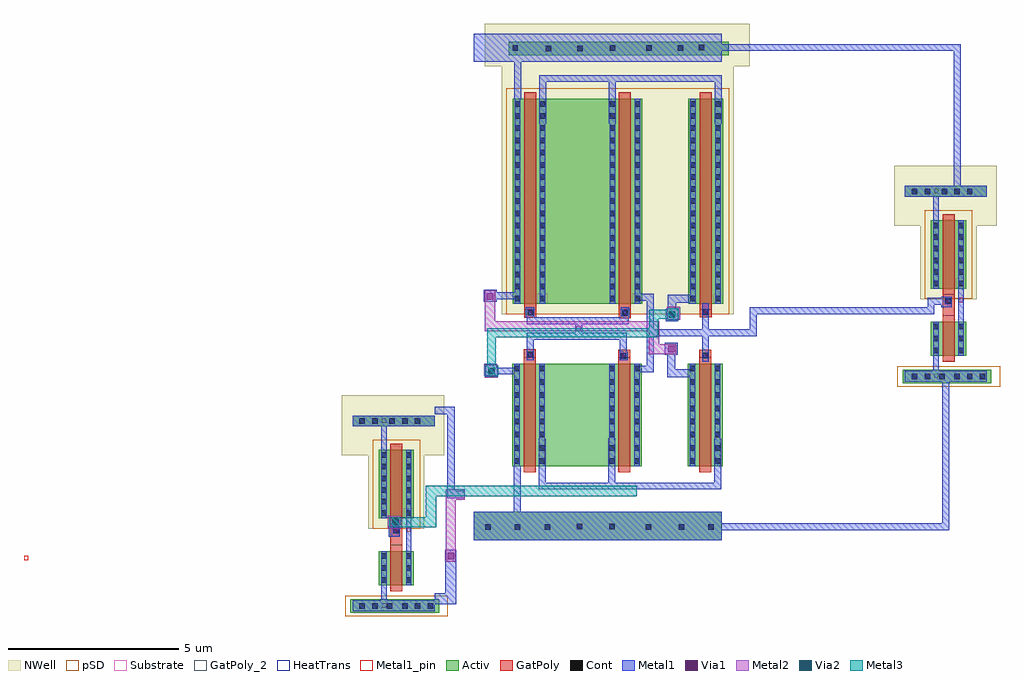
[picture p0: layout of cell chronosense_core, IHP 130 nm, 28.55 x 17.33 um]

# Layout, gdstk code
import gdstk
lib = gdstk.Library(unit=1e-6, precision=1e-09)
def R(c, l, rs):  # rectangles x0, y0, x1, y1
    for r in rs: c.add(gdstk.rectangle(r[:2], r[2:], *l))
def A(c, l, x, y, w, h, nx, ny, dx, dy):  # array of equal rectangles
    R(c, l, [(x+i*dx, y+j*dy, x+i*dx+w, y+j*dy+h) for i in range(nx) for j in range(ny)])
Activ = (1, 0)
GatPoly = (5, 0)
GatPoly_2 = (5, 2)
Cont = (6, 0)
Metal1 = (8, 0)
Metal1_pin = (8, 2)
Metal2 = (10, 0)
pSD = (14, 0)
Via1 = (19, 0)
Via2 = (29, 0)
Metal3 = (30, 0)
NWell = (31, 0)
Substrate = (40, 0)
HeatTrans = (51, 0)

pmos = lib.new_cell('pmos')
R(pmos, Activ, [(0,0,0.3,0.3), (0,0,1.03,2), (0.73,0,1.03,0.3)])
R(pmos, GatPoly, [(0.34,-0.18,0.69,2.18), (0.34,-0.18,0.69,2.18)])
A(pmos, Cont, 0.07, 0.07, 0.16, 0.16, 1, 6, 0, 0.34)
A(pmos, Cont, 0.8, 0.07, 0.16, 0.16, 1, 6, 0, 0.34)
R(pmos, Metal1, [(0.07,0,0.23,2), (0.07,0,0.23,2), (0.8,0,0.96,2), (0.8,0,0.96,2)])
R(pmos, pSD, [(-0.18,-0.3,1.21,2.3)])
R(pmos, NWell, [(-0.31,-0.31,1.34,2.31)])
R(pmos, Substrate, [(0.73,0,1.03,0.3)])
R(pmos, HeatTrans, [(0.34,-0.18,0.69,2.18)])
pmos.add(gdstk.Label('pmos', (0.515,1), layer=63, texttype=0))
pmos.add(gdstk.Label('pmos', (0.515,1), layer=51, texttype=0))

nmos = lib.new_cell('nmos')
R(nmos, Activ, [(0,0,0.3,0.3), (0,0,1.03,1), (0.73,0,1.03,0.3)])
R(nmos, GatPoly, [(0.34,-0.18,0.69,1.18)])
R(nmos, GatPoly_2, [(0.34,-0.18,0.69,1.18)])
A(nmos, Cont, 0.07, 0.07, 0.16, 0.16, 1, 3, 0, 0.35)
A(nmos, Cont, 0.8, 0.07, 0.16, 0.16, 1, 3, 0, 0.35)
R(nmos, Metal1, [(0.07,0,0.23,1), (0.8,0,0.96,1)])
R(nmos, Metal1_pin, [(0.07,0,0.23,1), (0.8,0,0.96,1)])
R(nmos, HeatTrans, [(0.34,-0.18,0.69,1.18)])
nmos.add(gdstk.Label('nmos', (0.515,0.5), layer=63, texttype=0))
nmos.add(gdstk.Label('nmos', (0.515,0.5), layer=51, texttype=0))

inv = lib.new_cell('inv')
R(inv, Activ, [(-1.25,1.89,1.35,2.29), (-1.185,7.345,1.215,7.66)])
R(inv, GatPoly, [(-0.08,3.8,0.27,4.435), (-0.08,4.165,0.27,4.8)])
A(inv, Cont, -0.105, 7.42, 0.16, 0.16, 3, 1, 0.37, 0)
R(inv, Cont, [(-0.985,2.01,-0.825,2.17), (-0.605,2.01,-0.445,2.17), (-0.18,2.01,-0.02,2.17), (0.265,2.01,0.425,2.17), (0.635,2.01,0.795,2.17), (1.01,2.01,1.17,2.17), (0,4.215,0.16,4.375), (-0.985,7.42,-0.825,7.58), (-0.605,7.42,-0.445,7.58)])
R(inv, Metal1, [(-1.185,1.935,1.215,2.25), (-0.35,2.11,-0.19,2.745), (0.38,3.683,0.54,4.663), (-0.12,4.11,0.19,4.425), (-0.35,6.655,-0.19,7.43), (-1.185,7.345,1.215,7.66)])
R(inv, Metal1_pin, [(-0.33,2.045,-0.2,2.175), (-10.795,3.425,-10.665,3.555), (0.395,4.255,0.525,4.385), (-0.33,7.455,-0.2,7.585)])
R(inv, pSD, [(-1.4,1.79,1.6,2.39)])
R(inv, NWell, [(-1.5,6.5,1.5,8.25)])
inv.add(gdstk.Reference(pmos, (-0.42,4.655)))
inv.add(gdstk.Reference(nmos, (-0.42,2.695)))
inv.add(gdstk.Label('IN', (-10.655,3.525), layer=8, texttype=25))
inv.add(gdstk.Label('VDD', (-0.265,7.51), layer=8, texttype=25))
inv.add(gdstk.Label('VSS', (-0.265,2.08), layer=8, texttype=25))
inv.add(gdstk.Label('OUT', (0.46,4.32), layer=8, texttype=25))

nmos_2 = lib.new_cell('nmos$2')
R(nmos_2, Activ, [(0,0,0.3,0.3), (0,0,1.03,3), (0.73,0,1.03,0.3)])
R(nmos_2, GatPoly, [(0.34,-0.18,0.69,3.18)])
R(nmos_2, GatPoly_2, [(0.34,-0.18,0.69,3.18)])
A(nmos_2, Cont, 0.07, 0.07, 0.16, 0.16, 1, 7, 0, 0.385)
A(nmos_2, Cont, 0.8, 0.07, 0.16, 0.16, 1, 7, 0, 0.385)
R(nmos_2, Cont, [(0.07,2.77,0.23,2.93), (0.8,2.77,0.96,2.93)])
R(nmos_2, Metal1, [(0.07,0,0.23,3), (0.8,0,0.96,3)])
R(nmos_2, Metal1_pin, [(0.07,0,0.23,3), (0.8,0,0.96,3)])
R(nmos_2, HeatTrans, [(0.34,-0.18,0.69,3.18)])
nmos_2.add(gdstk.Label('nmos', (0.515,1.5), layer=63, texttype=0))
nmos_2.add(gdstk.Label('nmos', (0.515,1.5), layer=51, texttype=0))

pmos_2 = lib.new_cell('pmos$2')
R(pmos_2, Activ, [(0,0,0.3,0.3), (0,0,1.03,6), (0.73,0,1.03,0.3)])
R(pmos_2, GatPoly, [(0.34,-0.18,0.69,6.18), (0.34,-0.18,0.69,6.18)])
A(pmos_2, Cont, 0.07, 0.07, 0.16, 0.16, 1, 4, 0, 0.355)
A(pmos_2, Cont, 0.8, 0.07, 0.16, 0.16, 1, 4, 0, 0.355)
A(pmos_2, Cont, 0.07, 1.495, 0.16, 0.16, 1, 4, 0, 0.355)
A(pmos_2, Cont, 0.8, 1.495, 0.16, 0.16, 1, 4, 0, 0.355)
A(pmos_2, Cont, 0.07, 2.92, 0.16, 0.16, 1, 4, 0, 0.355)
A(pmos_2, Cont, 0.8, 2.92, 0.16, 0.16, 1, 4, 0, 0.355)
A(pmos_2, Cont, 0.07, 4.345, 0.16, 0.16, 1, 4, 0, 0.355)
A(pmos_2, Cont, 0.8, 4.345, 0.16, 0.16, 1, 4, 0, 0.355)
R(pmos_2, Cont, [(0.07,5.77,0.23,5.93), (0.8,5.77,0.96,5.93)])
R(pmos_2, Metal1, [(0.07,0,0.23,6), (0.07,0,0.23,6), (0.8,0,0.96,6), (0.8,0,0.96,6)])
R(pmos_2, pSD, [(-0.18,-0.3,1.21,6.3)])
R(pmos_2, NWell, [(-0.31,-0.31,1.34,6.31)])
R(pmos_2, Substrate, [(0.73,0,1.03,0.3)])
R(pmos_2, HeatTrans, [(0.34,-0.18,0.69,6.18)])
pmos_2.add(gdstk.Label('pmos', (0.515,3), layer=63, texttype=0))
pmos_2.add(gdstk.Label('pmos', (0.515,3), layer=51, texttype=0))

schmitt = lib.new_cell('schmitt')
R(schmitt, Activ, [(-5.575,3.39,1.68,4.22), (-5.575,3.39,1.68,4.22), (-3.735,5.555,-1.35,8.555), (-3.925,10.305,-1.155,16.305), (-4.55,17.575,1.89,17.975)])
R(schmitt, GatPoly, [(1.02,8.32,1.37,8.955), (-1.345,8.33,-0.995,8.965), (-4.115,8.34,-3.765,8.975), (-1.33,9.885,-0.98,10.52), (-4.1,9.89,-3.75,10.525), (1.035,9.905,1.385,10.54)])
R(schmitt, Cont, [(-5.235,3.69,-5.075,3.85), (-4.38,3.69,-4.22,3.85), (-3.495,3.69,-3.335,3.85), (-0.54,3.69,-0.38,3.85), (0.42,3.69,0.58,3.85), (1.28,3.69,1.44,3.85), (-2.56,3.71,-2.4,3.87), (-1.605,3.71,-1.445,3.87), (-1.27,8.7,-1.11,8.86), (1.125,8.705,1.285,8.865), (-4,8.74,-3.84,8.9), (-1.225,9.96,-1.065,10.12), (-4,9.965,-3.84,10.125), (1.125,9.985,1.285,10.145), (-3.465,17.69,-3.305,17.85), (-2.55,17.69,-2.39,17.85), (-1.595,17.7,-1.435,17.86), (-4.44,17.705,-4.28,17.865), (-0.525,17.705,-0.365,17.865), (0.4,17.705,0.56,17.865), (1.005,17.72,1.165,17.88)])
R(schmitt, Metal1, [(-5.575,3.39,1.68,4.22), (-5.27,8.195,-4.895,8.55), (-1.3,8.65,-1.065,8.9), (0.02,8.81,0.395,9.165), (0.04,9.8,0.415,10.155), (-4.05,9.9,-3.8,10.2), (-1.27,9.905,-1.02,10.205), (-5.275,10.36,-4.9,10.715), (-5.575,17.38,1.68,18.21)])
R(schmitt, Metal2, [(-5.255,8.135,-4.875,8.515), (0.08,9.84,0.46,10.22)])
R(schmitt, pSD, [(-4.62,10.005,1.905,16.605)])
R(schmitt, Via1, [(-5.155,8.245,-4.965,8.435), (0.11,8.885,0.3,9.075), (0.135,9.895,0.325,10.085), (-5.19,10.42,-5,10.61)])
R(schmitt, Via2, [(-5.155,8.245,-4.965,8.435), (0.135,9.895,0.325,10.085)])
R(schmitt, Metal3, [(-5.24,8.175,-4.86,8.485), (0.1,9.825,0.425,10.175)])
R(schmitt, NWell, [(-4.75,9.995,2.035,16.615), (-4.75,16.615,2.035,18.21), (-5.25,17.26,2.505,18.495)])
schmitt.add(gdstk.FlexPath([(8.4,10.375),(7.8,10.375),(7.8,10.1),(2.6,10.1),(2.6,9.46),(1.205,9.46)], 0.2, ends="flush", simple_path=True, layer=8, datatype=0))  # Metal1
schmitt.add(gdstk.FlexPath([(8.235,8.182),(8.235,3.78),(0.425,3.78)], 0.2, ends="flush", simple_path=True, layer=8, datatype=0))  # Metal1
schmitt.add(gdstk.FlexPath([(1.15,17.8),(8.565,17.8),(8.565,13.43)], 0.2, ends="flush", simple_path=True, layer=8, datatype=0))  # Metal1
schmitt.add(gdstk.FlexPath([(-3.575,6.35),(-3.575,4.975),(1.56,4.975),(1.56,6.35)], 0.2, ends="flush", simple_path=True, layer=8, datatype=0))  # Metal1
schmitt.add(gdstk.FlexPath([(-1.535,6.365),(-1.535,4.89)], 0.2, ends="flush", simple_path=True, layer=8, datatype=0))  # Metal1
schmitt.add(gdstk.FlexPath([(-4.225,8.34),(-5.27,8.34)], 0.2, ends="flush", simple_path=True, layer=8, datatype=0))  # Metal1
schmitt.add(gdstk.FlexPath([(-0.51,9.46),(1.305,9.46)], 0.2, ends="flush", simple_path=True, layer=8, datatype=0))  # Metal1
schmitt.add(gdstk.FlexPath([(1.205,8.61),(1.205,10.315)], 0.2, ends="flush", simple_path=True, layer=8, datatype=0))  # Metal1
schmitt.add(gdstk.FlexPath([(0.2,9.1),(0.2,8.275),(0.91,8.275)], 0.24, ends="flush", simple_path=True, layer=8, datatype=0))  # Metal1
schmitt.add(gdstk.FlexPath([(-3.925,8.65),(-3.925,9.355),(-1.2,9.355),(-1.2,8.65)], 0.2, ends="flush", simple_path=True, layer=8, datatype=0))  # Metal1
schmitt.add(gdstk.FlexPath([(0.225,9.85),(0.225,10.455),(0.925,10.455)], 0.24, ends="flush", simple_path=True, layer=8, datatype=0))  # Metal1
schmitt.add(gdstk.FlexPath([(-1.145,10.205),(-1.145,9.805),(-3.925,9.805),(-3.925,10.2),(-3.925,10.2)], 0.2, ends="flush", simple_path=True, layer=8, datatype=0))  # Metal1
schmitt.add(gdstk.FlexPath([(-3.56,15.57),(-3.56,16.895),(1.575,16.895),(1.575,15.57)], 0.2, ends="flush", simple_path=True, layer=8, datatype=0))  # Metal1
schmitt.add(gdstk.FlexPath([(-1.52,15.565),(-1.52,16.99)], 0.2, ends="flush", simple_path=True, layer=8, datatype=0))  # Metal1
schmitt.add(gdstk.FlexPath([(-0.885,8.395),(-0.41,8.395),(-0.41,10.495),(-0.87,10.495)], 0.2, ends="flush", simple_path=True, layer=8, datatype=0))  # Metal1
schmitt.add(gdstk.FlexPath([(-5.275,10.535),(-4.21,10.535)], 0.2, ends="flush", simple_path=True, layer=8, datatype=0))  # Metal1
schmitt.add(gdstk.FlexPath([(-2.5,9.9),(-2.5,9.25)], 0.2, ends="flush", simple_path=True, layer=8, datatype=0))  # Metal1
schmitt.add(gdstk.FlexPath([(-4.29,16.305),(-4.29,18.21)], 0.2, ends="flush", simple_path=True, layer=8, datatype=0))  # Metal1
schmitt.add(gdstk.FlexPath([(-4.305,5.555),(-4.305,3.39)], 0.2, ends="flush", simple_path=True, layer=8, datatype=0))  # Metal1
schmitt.add(gdstk.FlexPath([(-5.1,10.7),(-5.1,9.65),(-0.3,9.65),(-0.3,8.975),(0.355,8.975),(0.355,8.975)], 0.3, ends="flush", simple_path=True, layer=10, datatype=0))  # Metal2
schmitt.add(gdstk.FlexPath([(-5.055,8.195),(-5.055,9.46),(-0.31,9.46),(-0.31,9.995),(0.365,9.995)], 0.26, ends="flush", simple_path=True, layer=30, datatype=0))  # Metal3
schmitt.add(gdstk.Reference(nmos_2, (-4.455,5.555)))
schmitt.add(gdstk.Reference(pmos_2, (-4.44,10.305)))
schmitt.add(gdstk.Reference(pmos_2, (-1.67,10.305)))
schmitt.add(gdstk.Reference(pmos_2, (0.695,10.305)))
schmitt.add(gdstk.Reference(nmos_2, (-1.685,5.555)))
schmitt.add(gdstk.Reference(nmos_2, (0.68,5.555)))
schmitt.add(gdstk.Reference(inv, (8.22,6.09)))

chronosense_core = lib.new_cell('chronosense_core')
R(chronosense_core, Metal2, [(-1.125,4.445,-0.745,4.825)])
R(chronosense_core, Via1, [(0.62,3.55,0.81,3.74), (-0.995,4.54,-0.805,4.73)])
R(chronosense_core, Via2, [(-0.995,4.54,-0.805,4.73)])
chronosense_core.add(gdstk.FlexPath([(0.24,7.908),(0.715,7.908),(0.715,5.45),(1.13,5.45)], 0.22, ends="flush", simple_path=True, layer=8, datatype=0))  # Metal1
chronosense_core.add(gdstk.FlexPath([(0.24,2.398),(0.715,2.398),(0.715,3.83)], 0.32, ends="flush", simple_path=True, layer=8, datatype=0))  # Metal1
chronosense_core.add(gdstk.FlexPath([(1.13,5.445),(0.715,5.445),(0.715,3.475)], 0.3, ends="flush", simple_path=True, layer=10, datatype=0))  # Metal2
chronosense_core.add(gdstk.FlexPath([(6.16,5.55),(0.135,5.55),(0.135,4.635),(-1.09,4.635)], 0.3, ends="flush", simple_path=True, layer=30, datatype=0))  # Metal3
chronosense_core.add(gdstk.Reference(inv, (-0.975,0.095)))
chronosense_core.add(gdstk.Reference(schmitt, (6.96,0.72)))

lib.write_gds('chronosense_core.gds')
